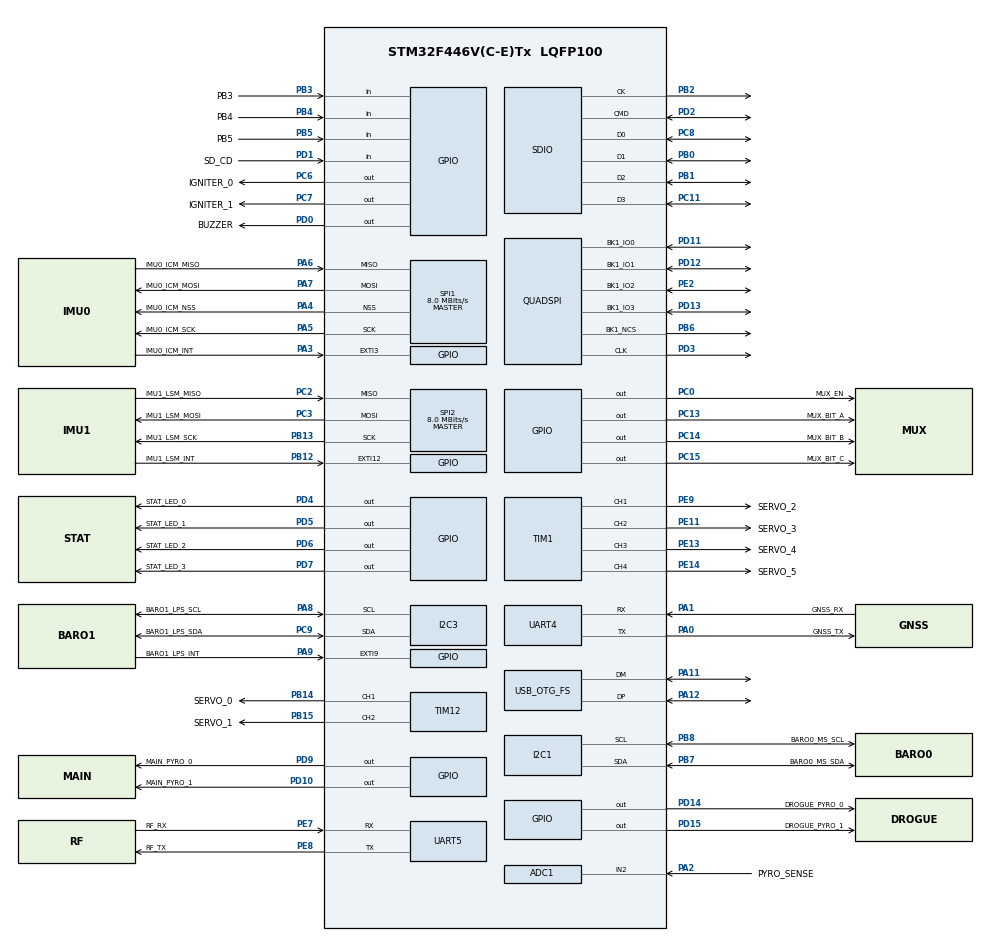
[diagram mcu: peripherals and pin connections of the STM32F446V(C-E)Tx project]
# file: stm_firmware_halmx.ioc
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ADC1.Channel-2\#ChannelRegularConversion=ADC_CHANNEL_2
ADC1.ContinuousConvMode=ENABLE
ADC1.NbrOfConversionFlag=1
ADC1.Rank-2\#ChannelRegularConversion=1
ADC1.SamplingTime-2\#ChannelRegularConversion=ADC_SAMPLETIME_3CYCLES
ADC1.master=1
Dma.ADC1.9.Direction=DMA_PERIPH_TO_MEMORY
Dma.ADC1.9.FIFOMode=DMA_FIFOMODE_DISABLE
Dma.ADC1.9.Instance=DMA2_Stream4
Dma.ADC1.9.MemDataAlignment=DMA_MDATAALIGN_HALFWORD
Dma.ADC1.9.MemInc=DMA_MINC_ENABLE
Dma.ADC1.9.Mode=DMA_NORMAL
Dma.ADC1.9.PeriphDataAlignment=DMA_PDATAALIGN_HALFWORD
Dma.ADC1.9.PeriphInc=DMA_PINC_DISABLE
Dma.ADC1.9.Priority=DMA_PRIORITY_LOW
Dma.I2C1_RX.6.Direction=DMA_PERIPH_TO_MEMORY
Dma.I2C1_RX.6.FIFOMode=DMA_FIFOMODE_DISABLE
Dma.I2C1_RX.6.Instance=DMA1_Stream5
Dma.I2C1_RX.6.MemDataAlignment=DMA_MDATAALIGN_BYTE
Dma.I2C1_RX.6.MemInc=DMA_MINC_ENABLE
Dma.I2C1_RX.6.Mode=DMA_NORMAL
Dma.I2C1_RX.6.PeriphDataAlignment=DMA_PDATAALIGN_BYTE
Dma.I2C1_RX.6.PeriphInc=DMA_PINC_DISABLE
Dma.I2C1_RX.6.Priority=DMA_PRIORITY_LOW
Dma.I2C1_TX.10.Direction=DMA_MEMORY_TO_PERIPH
Dma.I2C1_TX.10.FIFOMode=DMA_FIFOMODE_DISABLE
Dma.I2C1_TX.10.Instance=DMA1_Stream6
Dma.I2C1_TX.10.MemDataAlignment=DMA_MDATAALIGN_BYTE
Dma.I2C1_TX.10.MemInc=DMA_MINC_ENABLE
Dma.I2C1_TX.10.Mode=DMA_NORMAL
Dma.I2C1_TX.10.PeriphDataAlignment=DMA_PDATAALIGN_BYTE
Dma.I2C1_TX.10.PeriphInc=DMA_PINC_DISABLE
Dma.I2C1_TX.10.Priority=DMA_PRIORITY_LOW
Dma.I2C3_RX.7.Direction=DMA_PERIPH_TO_MEMORY
Dma.I2C3_RX.7.FIFOMode=DMA_FIFOMODE_DISABLE
Dma.I2C3_RX.7.Instance=DMA1_Stream1
Dma.I2C3_RX.7.MemDataAlignment=DMA_MDATAALIGN_BYTE
Dma.I2C3_RX.7.MemInc=DMA_MINC_ENABLE
Dma.I2C3_RX.7.Mode=DMA_NORMAL
Dma.I2C3_RX.7.PeriphDataAlignment=DMA_PDATAALIGN_BYTE
Dma.I2C3_RX.7.PeriphInc=DMA_PINC_DISABLE
Dma.I2C3_RX.7.Priority=DMA_PRIORITY_LOW
Dma.Request0=UART4_TX
Dma.Request1=UART5_TX
Dma.Request10=I2C1_TX
Dma.Request11=SPI1_TX
Dma.Request2=SDIO_TX
Dma.Request3=SPI1_RX
Dma.Request4=UART4_RX
Dma.Request5=UART5_RX
Dma.Request6=I2C1_RX
Dma.Request7=I2C3_RX
Dma.Request8=SPI2_RX
Dma.Request9=ADC1
Dma.SDIO_TX.2.Direction=DMA_MEMORY_TO_PERIPH
Dma.SDIO_TX.2.FIFOMode=DMA_FIFOMODE_ENABLE
Dma.SDIO_TX.2.FIFOThreshold=DMA_FIFO_THRESHOLD_FULL
Dma.SDIO_TX.2.Instance=DMA2_Stream6
Dma.SDIO_TX.2.MemBurst=DMA_MBURST_INC4
Dma.SDIO_TX.2.MemDataAlignment=DMA_MDATAALIGN_WORD
Dma.SDIO_TX.2.MemInc=DMA_MINC_ENABLE
Dma.SDIO_TX.2.Mode=DMA_PFCTRL
Dma.SDIO_TX.2.PeriphBurst=DMA_PBURST_INC4
Dma.SDIO_TX.2.PeriphDataAlignment=DMA_PDATAALIGN_WORD
Dma.SDIO_TX.2.PeriphInc=DMA_PINC_DISABLE
Dma.SDIO_TX.2.Priority=DMA_PRIORITY_LOW
Dma.SPI1_RX.3.Direction=DMA_PERIPH_TO_MEMORY
Dma.SPI1_RX.3.FIFOMode=DMA_FIFOMODE_DISABLE
Dma.SPI1_RX.3.Instance=DMA2_Stream0
Dma.SPI1_RX.3.MemDataAlignment=DMA_MDATAALIGN_BYTE
Dma.SPI1_RX.3.MemInc=DMA_MINC_ENABLE
Dma.SPI1_RX.3.Mode=DMA_NORMAL
Dma.SPI1_RX.3.PeriphDataAlignment=DMA_PDATAALIGN_BYTE
Dma.SPI1_RX.3.PeriphInc=DMA_PINC_DISABLE
Dma.SPI1_RX.3.Priority=DMA_PRIORITY_LOW
Dma.SPI1_TX.11.Direction=DMA_MEMORY_TO_PERIPH
Dma.SPI1_TX.11.FIFOMode=DMA_FIFOMODE_DISABLE
Dma.SPI1_TX.11.Instance=DMA2_Stream3
Dma.SPI1_TX.11.MemDataAlignment=DMA_MDATAALIGN_BYTE
Dma.SPI1_TX.11.MemInc=DMA_MINC_ENABLE
Dma.SPI1_TX.11.Mode=DMA_NORMAL
Dma.SPI1_TX.11.PeriphDataAlignment=DMA_PDATAALIGN_BYTE
Dma.SPI1_TX.11.PeriphInc=DMA_PINC_DISABLE
Dma.SPI1_TX.11.Priority=DMA_PRIORITY_LOW
Dma.SPI2_RX.8.Direction=DMA_PERIPH_TO_MEMORY
Dma.SPI2_RX.8.FIFOMode=DMA_FIFOMODE_DISABLE
Dma.SPI2_RX.8.Instance=DMA1_Stream3
Dma.SPI2_RX.8.MemDataAlignment=DMA_MDATAALIGN_BYTE
Dma.SPI2_RX.8.MemInc=DMA_MINC_ENABLE
Dma.SPI2_RX.8.Mode=DMA_NORMAL
Dma.SPI2_RX.8.PeriphDataAlignment=DMA_PDATAALIGN_BYTE
Dma.SPI2_RX.8.PeriphInc=DMA_PINC_DISABLE
Dma.SPI2_RX.8.Priority=DMA_PRIORITY_LOW
Dma.UART4_RX.4.Direction=DMA_PERIPH_TO_MEMORY
Dma.UART4_RX.4.FIFOMode=DMA_FIFOMODE_DISABLE
Dma.UART4_RX.4.Instance=DMA1_Stream2
Dma.UART4_RX.4.MemDataAlignment=DMA_MDATAALIGN_BYTE
Dma.UART4_RX.4.MemInc=DMA_MINC_ENABLE
Dma.UART4_RX.4.Mode=DMA_NORMAL
Dma.UART4_RX.4.PeriphDataAlignment=DMA_PDATAALIGN_BYTE
Dma.UART4_RX.4.PeriphInc=DMA_PINC_DISABLE
Dma.UART4_RX.4.Priority=DMA_PRIORITY_LOW
Dma.UART4_TX.0.Direction=DMA_MEMORY_TO_PERIPH
Dma.UART4_TX.0.FIFOMode=DMA_FIFOMODE_DISABLE
Dma.UART4_TX.0.Instance=DMA1_Stream4
Dma.UART4_TX.0.MemDataAlignment=DMA_MDATAALIGN_BYTE
Dma.UART4_TX.0.MemInc=DMA_MINC_ENABLE
Dma.UART4_TX.0.Mode=DMA_NORMAL
Dma.UART4_TX.0.PeriphDataAlignment=DMA_PDATAALIGN_BYTE
Dma.UART4_TX.0.PeriphInc=DMA_PINC_DISABLE
Dma.UART4_TX.0.Priority=DMA_PRIORITY_LOW
Dma.UART5_RX.5.Direction=DMA_PERIPH_TO_MEMORY
Dma.UART5_RX.5.FIFOMode=DMA_FIFOMODE_DISABLE
Dma.UART5_RX.5.Instance=DMA1_Stream0
Dma.UART5_RX.5.MemDataAlignment=DMA_MDATAALIGN_BYTE
Dma.UART5_RX.5.MemInc=DMA_MINC_ENABLE
Dma.UART5_RX.5.Mode=DMA_NORMAL
Dma.UART5_RX.5.PeriphDataAlignment=DMA_PDATAALIGN_BYTE
Dma.UART5_RX.5.PeriphInc=DMA_PINC_DISABLE
Dma.UART5_RX.5.Priority=DMA_PRIORITY_LOW
Dma.UART5_TX.1.Direction=DMA_MEMORY_TO_PERIPH
Dma.UART5_TX.1.FIFOMode=DMA_FIFOMODE_DISABLE
Dma.UART5_TX.1.Instance=DMA1_Stream7
Dma.UART5_TX.1.MemDataAlignment=DMA_MDATAALIGN_BYTE
Dma.UART5_TX.1.MemInc=DMA_MINC_ENABLE
Dma.UART5_TX.1.Mode=DMA_NORMAL
Dma.UART5_TX.1.PeriphDataAlignment=DMA_PDATAALIGN_BYTE
Dma.UART5_TX.1.PeriphInc=DMA_PINC_DISABLE
Dma.UART5_TX.1.Priority=DMA_PRIORITY_LOW
FATFS.BSP.number=1
FATFS._USE_LABEL=1
FATFS._USE_LFN=3
FATFS0.BSP.STBoard=false
FATFS0.BSP.api=Unknown
FATFS0.BSP.instance=PD1
FATFS0.BSP.ip=GPIO
FATFS0.BSP.mode=Input
FATFS0.BSP.name=Detect_SDIO
FATFS0.BSP.solution=PD1
I2C1.OwnAddress=0
Mcu.Family=STM32F4
Mcu.Name=STM32F446V(C-E)Tx
Mcu.Package=LQFP100
NVIC.DMA1_Stream0_IRQn=true\:0\:0\:false\:false\:true\:false\:true\:true
NVIC.DMA1_Stream1_IRQn=true\:0\:0\:false\:false\:true\:false\:true\:true
NVIC.DMA1_Stream2_IRQn=true\:0\:0\:false\:false\:true\:false\:true\:true
NVIC.DMA1_Stream3_IRQn=true\:0\:0\:false\:false\:true\:false\:true\:true
NVIC.DMA1_Stream4_IRQn=true\:0\:0\:false\:false\:true\:false\:true\:true
NVIC.DMA1_Stream5_IRQn=true\:0\:0\:false\:false\:true\:false\:true\:true
NVIC.DMA1_Stream6_IRQn=true\:0\:0\:false\:false\:true\:false\:true\:true
NVIC.DMA1_Stream7_IRQn=true\:0\:0\:false\:false\:true\:false\:true\:true
NVIC.DMA2_Stream0_IRQn=true\:0\:0\:false\:false\:true\:false\:true\:true
NVIC.DMA2_Stream3_IRQn=true\:0\:0\:false\:false\:true\:false\:true\:true
NVIC.DMA2_Stream4_IRQn=true\:0\:0\:false\:false\:true\:false\:true\:true
NVIC.DMA2_Stream6_IRQn=true\:0\:0\:false\:false\:true\:false\:true\:true
NVIC.EXTI15_10_IRQn=true\:0\:0\:false\:false\:true\:true\:true\:true
NVIC.EXTI3_IRQn=true\:0\:0\:false\:false\:true\:true\:true\:true
NVIC.EXTI9_5_IRQn=true\:0\:0\:false\:false\:true\:true\:true\:true
NVIC.I2C1_EV_IRQn=true\:0\:0\:false\:false\:true\:true\:true\:true
NVIC.I2C3_EV_IRQn=true\:0\:0\:false\:false\:true\:true\:true\:true
NVIC.OTG_FS_IRQn=true\:0\:0\:false\:false\:true\:false\:true\:true
NVIC.PriorityGroup=NVIC_PRIORITYGROUP_4
NVIC.SDIO_IRQn=true\:0\:0\:false\:false\:true\:true\:true\:true
NVIC.SPI1_IRQn=true\:0\:0\:false\:false\:true\:true\:true\:true
NVIC.SPI2_IRQn=true\:0\:0\:false\:false\:true\:true\:true\:true
NVIC.TIM3_IRQn=true\:0\:0\:false\:false\:true\:true\:true\:true
NVIC.UART4_IRQn=true\:0\:0\:false\:false\:true\:true\:true\:true
NVIC.UART5_IRQn=true\:0\:0\:false\:false\:true\:true\:true\:true
PA0-WKUP.GPIO_Label=GNSS_TX
PA0-WKUP.Mode=Asynchronous
PA0-WKUP.Signal=UART4_TX
PA1.GPIO_Label=GNSS_RX
PA1.Mode=Asynchronous
PA1.Signal=UART4_RX
PA11.Mode=Device_Only
PA11.Signal=USB_OTG_FS_DM
PA12.Mode=Device_Only
PA12.Signal=USB_OTG_FS_DP
PA13.Mode=Serial_Wire
PA13.Signal=SYS_JTMS-SWDIO
PA14.Mode=Serial_Wire
PA14.Signal=SYS_JTCK-SWCLK
PA2.GPIO_Label=PYRO_SENSE
PA2.Signal=SharedAnalog_PA2
PA3.GPIO_Label=IMU0_ICM_INT
PA3.GPIO_ModeDefaultEXTI=GPIO_MODE_IT_FALLING
PA3.Signal=GPXTI3
PA4.GPIO_Label=IMU0_ICM_NSS
PA4.Mode=NSS_Signal_Hard_Output
PA4.Signal=SPI1_NSS
PA5.GPIO_Label=IMU0_ICM_SCK
PA5.Mode=Full_Duplex_Master
PA5.Signal=SPI1_SCK
PA6.GPIO_Label=IMU0_ICM_MISO
PA6.Mode=Full_Duplex_Master
PA6.Signal=SPI1_MISO
PA7.GPIO_Label=IMU0_ICM_MOSI
PA7.Mode=Full_Duplex_Master
PA7.Signal=SPI1_MOSI
PA8.GPIO_Label=BARO1_LPS_SCL
PA8.Mode=I2C
PA8.Signal=I2C3_SCL
PA9.GPIO_Label=BARO1_LPS_INT
PA9.GPIO_ModeDefaultEXTI=GPIO_MODE_IT_RISING
PA9.Signal=GPXTI9
PB0.Mode=SD_4_bits_Wide_bus
PB0.Signal=SDIO_D1
PB1.Mode=SD_4_bits_Wide_bus
PB1.Signal=SDIO_D2
PB12.GPIO_Label=IMU1_LSM_INT
PB12.GPIO_ModeDefaultEXTI=GPIO_MODE_IT_RISING
PB12.Signal=GPXTI12
PB13.GPIO_Label=IMU1_LSM_SCK
PB13.Mode=Full_Duplex_Master
PB13.Signal=SPI2_SCK
PB14.GPIO_Label=SERVO_0
PB14.Signal=S_TIM12_CH1
PB15.GPIO_Label=SERVO_1
PB15.Signal=S_TIM12_CH2
PB2.Mode=SD_4_bits_Wide_bus
PB2.Signal=SDIO_CK
PB3.GPIO_Label=PB3
PB3.Signal=GPIO_Input
PB4.GPIO_Label=PB4
PB4.Signal=GPIO_Input
PB5.GPIO_Label=PB5
PB5.Signal=GPIO_Input
PB6.Mode=Single Bank 1
PB6.Signal=QUADSPI_BK1_NCS
PB7.GPIO_Label=BARO0_MS_SDA
PB7.Mode=I2C
PB7.Signal=I2C1_SDA
PB8.GPIO_Label=BARO0_MS_SCL
PB8.Mode=I2C
PB8.Signal=I2C1_SCL
PC0.GPIO_Label=MUX_EN
PC0.GPIO_ModeDefaultOutputPP=GPIO_MODE_OUTPUT_OD
PC0.GPIO_PuPd=GPIO_NOPULL
PC0.Signal=GPIO_Output
PC11.Mode=SD_4_bits_Wide_bus
PC11.Signal=SDIO_D3
PC13.GPIO_Label=MUX_BIT_A
PC13.Signal=GPIO_Output
PC14-OSC32_IN.GPIO_Label=MUX_BIT_B
PC14-OSC32_IN.Signal=GPIO_Output
PC15-OSC32_OUT.GPIO_Label=MUX_BIT_C
PC15-OSC32_OUT.Signal=GPIO_Output
PC2.GPIO_Label=IMU1_LSM_MISO
PC2.Mode=Full_Duplex_Master
PC2.Signal=SPI2_MISO
PC3.GPIO_Label=IMU1_LSM_MOSI
PC3.Mode=Full_Duplex_Master
PC3.Signal=SPI2_MOSI
PC6.GPIO_Label=IGNITER_0
PC6.Signal=GPIO_Output
PC7.GPIO_Label=IGNITER_1
PC7.Signal=GPIO_Output
PC8.Mode=SD_4_bits_Wide_bus
PC8.Signal=SDIO_D0
PC9.GPIO_Label=BARO1_LPS_SDA
PC9.Mode=I2C
PC9.Signal=I2C3_SDA
PD0.GPIO_Label=BUZZER
PD0.Signal=GPIO_Output
PD1.GPIO_Label=SD_CD
PD1.Signal=GPIO_Input
PD10.GPIO_Label=MAIN_PYRO_1
PD10.Signal=GPIO_Output
PD11.Mode=Single Bank 1
PD11.Signal=QUADSPI_BK1_IO0
PD12.Mode=Single Bank 1
PD12.Signal=QUADSPI_BK1_IO1
PD13.Mode=Single Bank 1
PD13.Signal=QUADSPI_BK1_IO3
PD14.GPIO_Label=DROGUE_PYRO_0
PD14.Signal=GPIO_Output
PD15.GPIO_Label=DROGUE_PYRO_1
PD15.Signal=GPIO_Output
PD2.Mode=SD_4_bits_Wide_bus
PD2.Signal=SDIO_CMD
PD3.Mode=Single Bank 1
PD3.Signal=QUADSPI_CLK
PD4.GPIO_Label=STAT_LED_0
PD4.Signal=GPIO_Output
PD5.GPIO_Label=STAT_LED_1
PD5.Signal=GPIO_Output
PD6.GPIO_Label=STAT_LED_2
PD6.Signal=GPIO_Output
PD7.GPIO_Label=STAT_LED_3
PD7.Signal=GPIO_Output
PD9.GPIO_Label=MAIN_PYRO_0
PD9.Signal=GPIO_Output
PE11.GPIO_Label=SERVO_3
PE11.Signal=S_TIM1_CH2
PE13.GPIO_Label=SERVO_4
PE13.Signal=S_TIM1_CH3
PE14.GPIO_Label=SERVO_5
PE14.Signal=S_TIM1_CH4
PE2.Mode=Single Bank 1
PE2.Signal=QUADSPI_BK1_IO2
PE7.GPIO_Label=RF_RX
PE7.Mode=Asynchronous
PE7.Signal=UART5_RX
PE8.GPIO_Label=RF_TX
PE8.Mode=Asynchronous
PE8.Signal=UART5_TX
PE9.GPIO_Label=SERVO_2
PE9.Signal=S_TIM1_CH1
PH0-OSC_IN.Mode=HSE-External-Oscillator
PH0-OSC_IN.Signal=RCC_OSC_IN
PH1-OSC_OUT.Mode=HSE-External-Oscillator
PH1-OSC_OUT.Signal=RCC_OSC_OUT
ProjectManager.HeapSize=0x200
ProjectManager.StackSize=0x400
ProjectManager.TargetToolchain=STM32CubeIDE
RCC.CortexFreq_Value=16000000
RCC.HSE_VALUE=12000000
RCC.PLLM=12
RCC.PLLQ=4
RCC.USBFreq_Value=48000000
RCC.VCOOutputFreq_Value=192000000
SH.S_TIM12_CH1.0=TIM12_CH1,PWM Generation1 CH1
SH.S_TIM12_CH2.0=TIM12_CH2,PWM Generation2 CH2
SH.S_TIM1_CH1.0=TIM1_CH1,PWM Generation1 CH1
SH.S_TIM1_CH2.0=TIM1_CH2,PWM Generation2 CH2
SH.S_TIM1_CH3.0=TIM1_CH3,PWM Generation3 CH3
SH.S_TIM1_CH4.0=TIM1_CH4,PWM Generation4 CH4
SH.SharedAnalog_PA2.0=GPIO_Analog
SH.SharedAnalog_PA2.1=ADC1_IN2,IN2
SPI1.CalculateBaudRate=8.0 MBits/s
SPI1.Direction=SPI_DIRECTION_2LINES
SPI1.Mode=SPI_MODE_MASTER
SPI1.VirtualNSS=VM_NSSHARD
SPI1.VirtualType=VM_MASTER
SPI2.CalculateBaudRate=8.0 MBits/s
SPI2.Direction=SPI_DIRECTION_2LINES
SPI2.Mode=SPI_MODE_MASTER
SPI2.VirtualType=VM_MASTER
TIM1.Channel-PWM\ Generation1\ CH1=TIM_CHANNEL_1
TIM1.Channel-PWM\ Generation2\ CH2=TIM_CHANNEL_2
TIM1.Channel-PWM\ Generation3\ CH3=TIM_CHANNEL_3
TIM1.Channel-PWM\ Generation4\ CH4=TIM_CHANNEL_4
TIM12.Channel-PWM\ Generation1\ CH1=TIM_CHANNEL_1
TIM12.Channel-PWM\ Generation2\ CH2=TIM_CHANNEL_2
TIM2.Prescaler=15
TIM2.TIM_MasterOutputTrigger=TIM_TRGO_RESET
TIM3.AutoReloadPreload=TIM_AUTORELOAD_PRELOAD_ENABLE
TIM3.Period=9999
TIM3.Prescaler=15
TIM3.TIM_MasterOutputTrigger=TIM_TRGO_UPDATE
UART4.VirtualMode=Asynchronous
UART5.VirtualMode=Asynchronous
USB_DEVICE.APP_RX_DATA_SIZE-CDC_FS=512
USB_DEVICE.APP_TX_DATA_SIZE-CDC_FS=512
USB_DEVICE.CLASS_NAME_FS=CDC
USB_DEVICE.VirtualMode-CDC_FS=Cdc
USB_DEVICE.VirtualModeFS=Cdc_FS
USB_OTG_FS.VirtualMode=Device_Only
VP_CRC_VS_CRC.Mode=CRC_Activate
VP_FATFS_VS_SDIO.Mode=SDIO
VP_RTC_VS_RTC_Activate.Mode=RTC_Enabled
VP_TIM1_VS_ClockSourceINT.Mode=Internal
VP_TIM2_VS_ClockSourceINT.Mode=Internal
VP_TIM3_VS_ClockSourceINT.Mode=Internal
VP_USB_DEVICE_VS_USB_DEVICE_CDC_FS.Mode=CDC_FS
board=custom

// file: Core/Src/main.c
/* USER CODE BEGIN Header */
/**
  ******************************************************************************
  * @file           : main.c
  * @brief          : Main program body
  ******************************************************************************
  * @attention
  *
  * Copyright (c) 2026 STMicroelectronics.
  * All rights reserved.
  *
  * This software is licensed under terms that can be found in the LICENSE file
  * in the root directory of this software component.
  * If no LICENSE file comes with this software, it is provided AS-IS.
  *
  ******************************************************************************
  */
/* USER CODE END Header */
#include "main.h"
#include "adc.h"
#include "crc.h"
#include "dma.h"
#include "fatfs.h"
#include "i2c.h"
#include "quadspi.h"
#include "rtc.h"
#include "sdio.h"
#include "spi.h"
#include "tim.h"
#include "usart.h"
#include "usb_device.h"
#include "gpio.h"

/* USER CODE BEGIN Includes */
#include "usbd_cdc_if.h"
#include "string.h"
/* USER CODE END Includes */

void SystemClock_Config(void);

/* USER CODE BEGIN 0 */
///////////////////
// ENABLE PRINTF //
///////////////////
int _write(int file, char *ptr, int len)
{
  while (CDC_Transmit_FS((uint8_t *)ptr, len) == USBD_BUSY)
  {
    HAL_Delay(1);
  }
  return len;
}

///////////////
// TIMESTAMP //
///////////////

uint32_t micros()
{
  return TIM2->CNT;
}

uint32_t millis()
{
  return TIM2->CNT / 1000UL;
}

///////////////////
// DEBUG LOGGING //
///////////////////

#if defined(DEBUG_LOGGING)
  uint32_t last_1 = 0;

  char* get_state_string(Flight_State state) {
    switch (state) {
      case Flight_State_Standby:
        return "Standby";
      case Flight_State_Armed:
        return "Armed";
      case Flight_State_Boost:
        return "Boost";
      case Flight_State_Coast:
        return "Coast";
      case Flight_State_Drogue:
        return "Drogue";
      case Flight_State_Main:
        return "Main";
      case Flight_State_Recovery:
        return "Recovery";
      default:
        return "Unknown";
    }
  }

  int get_decimals(float num, int num_decimals) {
    int factor = 1;
    for (int i = 0; i < num_decimals; i++) {
      factor *= 10;
    }
    return (int)(num * factor) % factor;
  }
#endif

//////////////////////////
// FINITE STATE MACHINE //
//////////////////////////

// State states[] = {
//   {Flight_State_Standby, NULL, enter_standby, NULL},
//   {Flight_State_Armed, NULL, enter_armed, NULL},
//   {Flight_State_Boost, NULL, enter_boost, NULL},
//   {Flight_State_Coast, NULL, enter_coast, NULL},
//   {Flight_State_Drogue, NULL, enter_drogue, NULL},
//   {Flight_State_Main, NULL, enter_main, NULL},
//   {Flight_State_Recovery, NULL, enter_recovery, NULL}
// };

// Transition transitions[] = {
//   {&states[0], &states[1], standby_to_armed},
//   {&states[1], &states[2], armed_to_boost},
//   {&states[2], &states[3], boost_to_coast},
//   {&states[3], &states[4], coast_to_drogue},
//   {&states[4], &states[5], drogue_to_main},
//   {&states[5], &states[6], main_to_recovery}
// };

// Flight_Data data = {
//   #if defined(MEASURE_CHAMBER_PRESSURE)
//     .chamber_pressure = 4562.984729,
//   #endif

//   .acceleration = {0.0,0.0,0.0},
//   .velocity = {0.0,0.0,0.0},
//   .displacement = {0.0,0.0,0.0},
//   .angular_velocity = {0.0,0.0,0.0},
//   .orientation = {0.0,0.0,0.0},

//   .baro_altitude = 0.0,
//   .gps_altitude = 0.0,

//   #if defined(ACTUATION_THRUST_VECTOR)
//     .tvc_angle = {0.0, 0.0},
//   #elif defined(ACTUATION_CONTROL_SURFACE)
//     .control_surface_angle = {0.0, 0.0, 0.0, 0.0},
//   #endif

//   .heading = 0.0,
//   .gps_coordinates = {0.0,0.0},
//   .gps_lock = 5
// };

// Flight_Variables variables = {
//   .imu0_raw_data = {0},
//   .imu0_raw_current_timestamp = {0},
//   .imu0_temperature = 0.0,
//   .imu0_acceleration = {0.0, 0.0, 0.0},
//   .imu0_angular_velocity = {0.0, 0.0, 0.0},
//   .imu0_last_timestamp = 0,
//   .imu0_current_timestamp = 0,
//   .imu0_velocity = {0.0, 0.0, 0.0},
//   .imu0_displacement = {0.0, 0.0, 0.0},
//   .imu0_orientation = {0.0, 0.0, 0.0}
// };

// Flight_Properties flight_properties = {
//   .data = &data,
//   .variables = &variables
// };

// void machine_heartbeat(FSM* fsm);

// FSM machine = {
//   .states = states,
//   .num_states = 7,
//   .transitions = transitions,
//   .num_transitions = 6,
//   .current_state = &states[0],
//   .check_transitions = 1,
//   .heartbeat = machine_heartbeat,
//   .context = &flight_properties
// };

// void machine_heartbeat(FSM* fsm) {
//   fsm_heartbeat_core(fsm);
//   // run extra code
//   Flight_Properties* flight_props = (Flight_Properties*)fsm->context;
//   Flight_Data* data = flight_props->data;
//   #if defined(DEBUG_LOGGING)
//     if (micros() - last_1 >= 1000000) {
//       last_1 = micros();

//       printf("==========\r\nCurrent State: %s\r\n", get_state_string(fsm->current_state->id));

//       printf("Timestamp (s): %lu.%lu\r\n", last_1 / (uint32_t)(1000000), last_1 % (uint32_t)(1000000));

//       #if defined(MEASURE_CHAMBER_PRESSURE)
//         printf("Chamber Pressure (bar): %i.%i\r\n", (int)(data->chamber_pressure), get_decimals(data->chamber_pressure, 4));
//       #endif

//       printf("Acceleration (m/s^2): %i.%i %i.%i %i.%i\r\n",
//         (int)(data->acceleration[0]), get_decimals(data->acceleration[0], 4),
//         (int)(data->acceleration[1]), get_decimals(data->acceleration[1], 4),
//         (int)(data->acceleration[2]), get_decimals(data->acceleration[2], 4)
//       );

//       printf("Velocity (m/s): %i.%i %i.%i %i.%i\r\n",
//         (int)(data->velocity[0]), get_decimals(data->velocity[0], 4),
//         (int)(data->velocity[1]), get_decimals(data->velocity[1], 4),
//         (int)(data->velocity[2]), get_decimals(data->velocity[2], 4)
//       );

//       printf("Displacement (m): %i.%i %i.%i %i.%i\r\n",
//         (int)(data->displacement[0]), get_decimals(data->displacement[0], 4),
//         (int)(data->displacement[1]), get_decimals(data->displacement[1], 4),
//         (int)(data->displacement[2]), get_decimals(data->displacement[2], 4)
//       );

//       printf("Angular Velocity (o/s): %i.%i %i.%i %i.%i\r\n",
//         (int)(data->angular_velocity[0]), get_decimals(data->angular_velocity[0], 4),
//         (int)(data->angular_velocity[1]), get_decimals(data->angular_velocity[1], 4),
//         (int)(data->angular_velocity[2]), get_decimals(data->angular_velocity[2], 4)
//       );

//       printf("Orientation (o): %i.%i %i.%i %i.%i\r\n",
//         (int)(data->orientation[0]), get_decimals(data->orientation[0], 4),
//         (int)(data->orientation[1]), get_decimals(data->orientation[1], 4),
//         (int)(data->orientation[2]), get_decimals(data->orientation[2], 4)
//       );

//       printf("Barometer Altitude (feet): %i\r\n", (int)(data->baro_altitude));

//       printf("GPS Altitude (feet): %i\r\n", (int)(data->gps_altitude));

//       #if defined(ACTUATION_THRUST_VECTOR)
//         printf("TVC Angle (o): %i.%i %i.%i\r\n",
//           (int)(data->tvc_angle[0]), get_decimals(data->tvc_angle[0], 4),
//           (int)(data->tvc_angle[1]), get_decimals(data->tvc_angle[1], 4)
//           );
//       #elif defined(ACTUATION_CONTROL_SURFACE)
//         printf("Control Surface Angle (o): %i.%i %i.%i %i.%i %i.%i\r\n",
//           (int)(data->control_surface_angle[0]), get_decimals(data->control_surface_angle[0], 4),
//           (int)(data->control_surface_angle[1]), get_decimals(data->control_surface_angle[1], 4),
//           (int)(data->control_surface_angle[2]), get_decimals(data->control_surface_angle[2], 4),
//           (int)(data->control_surface_angle[3]), get_decimals(data->control_surface_angle[3], 4)
//           );
//       #endif

//       printf("GPS Heading (o to North): %i.%i\r\n", (int)(data->heading), get_decimals(data->heading, 4));

//       printf("GPS Coordinates (lat, long): %i.%i %i.%i\r\n",
//           (int)(data->gps_coordinates[0]), get_decimals(data->gps_coordinates[0], 6),
//           (int)(data->gps_coordinates[1]), get_decimals(data->gps_coordinates[1], 6)
//         );

//       printf("GPS Lock: %i Satellites\r\n", data->gps_lock);

//       HAL_GPIO_TogglePin(STAT_LED_0_GPIO_Port, STAT_LED_0_Pin);
//     }
//   #endif
// }
/* USER CODE END 0 */

int main(void)
{

  /* MCU Configuration--------------------------------------------------------*/

  /* Reset of all peripherals, Initializes the Flash interface and the Systick. */
  HAL_Init();

  /* USER CODE BEGIN Init */
  // enable FPU (what a headache this caused)
  SCB->CPACR |= ((3UL << 20) | (3UL << 22));
  __DSB(); // waits until register write is complete
  __ISB(); // flushes and restarts instruction pipeline
  /* USER CODE END Init */

  /* Configure the system clock */
  SystemClock_Config();

  /* Initialize all configured peripherals */
  MX_GPIO_Init();
  MX_DMA_Init();
  MX_CRC_Init();
  MX_I2C1_Init();
  MX_I2C3_Init();
  MX_QUADSPI_Init();
  MX_SDIO_SD_Init();
  MX_SPI1_Init();
  MX_SPI2_Init();
  MX_TIM1_Init();
  MX_TIM12_Init();
  MX_UART4_Init();
  MX_UART5_Init();
  MX_TIM2_Init();
  MX_RTC_Init();
  MX_FATFS_Init();
  MX_USB_DEVICE_Init();
  MX_ADC1_Init();
  MX_TIM3_Init();
  /* USER CODE BEGIN 2 */
  #if defined(DEBUG_LOGGING)
    printf("Debug logging started\r\n");
  #endif
  /* USER CODE END 2 */

  /* Infinite loop */
  while (1)
  {

    /* USER CODE BEGIN 3 */
    machine.heartbeat(&machine);
  }
  /* USER CODE END 3 */
}

void SystemClock_Config(void)
{
  RCC_OscInitTypeDef RCC_OscInitStruct = {0};
  RCC_ClkInitTypeDef RCC_ClkInitStruct = {0};

  /** Configure the main internal regulator output voltage
  */
  __HAL_RCC_PWR_CLK_ENABLE();
  __HAL_PWR_VOLTAGESCALING_CONFIG(PWR_REGULATOR_VOLTAGE_SCALE3);

  /** Initializes the RCC Oscillators according to the specified parameters
  * in the RCC_OscInitTypeDef structure.
  */
  RCC_OscInitStruct.OscillatorType = RCC_OSCILLATORTYPE_HSI|RCC_OSCILLATORTYPE_LSI;
  RCC_OscInitStruct.LSEState = RCC_LSE_OFF;
  RCC_OscInitStruct.HSIState = RCC_HSI_ON;
  RCC_OscInitStruct.HSICalibrationValue = RCC_HSICALIBRATION_DEFAULT;
  RCC_OscInitStruct.LSIState = RCC_LSI_ON;
  RCC_OscInitStruct.PLL.PLLState = RCC_PLL_ON;
  RCC_OscInitStruct.PLL.PLLSource = RCC_PLLSOURCE_HSE;
  RCC_OscInitStruct.PLL.PLLM = 12;
  RCC_OscInitStruct.PLL.PLLN = 192;
  RCC_OscInitStruct.PLL.PLLP = RCC_PLLP_DIV2;
  RCC_OscInitStruct.PLL.PLLQ = 4;
  RCC_OscInitStruct.PLL.PLLR = 2;
  if (HAL_RCC_OscConfig(&RCC_OscInitStruct) != HAL_OK)
  {
    Error_Handler();
  }

  /** Initializes the CPU, AHB and APB buses clocks
  */
  RCC_ClkInitStruct.ClockType = RCC_CLOCKTYPE_HCLK|RCC_CLOCKTYPE_SYSCLK
                              |RCC_CLOCKTYPE_PCLK1|RCC_CLOCKTYPE_PCLK2;
  RCC_ClkInitStruct.SYSCLKSource = RCC_SYSCLKSOURCE_HSI;
  RCC_ClkInitStruct.AHBCLKDivider = RCC_SYSCLK_DIV1;
  RCC_ClkInitStruct.APB1CLKDivider = RCC_HCLK_DIV1;
  RCC_ClkInitStruct.APB2CLKDivider = RCC_HCLK_DIV1;

  if (HAL_RCC_ClockConfig(&RCC_ClkInitStruct, FLASH_LATENCY_0) != HAL_OK)
  {
    Error_Handler();
  }
}

void Error_Handler(void)
{
  __disable_irq();
  while (1)
  {
  }
}
